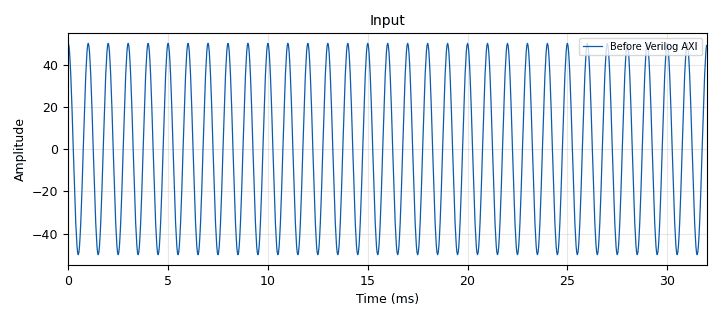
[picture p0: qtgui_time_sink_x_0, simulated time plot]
options:
  parameters:
    author: Bowen Hu
    description: This is a demo of verilog_axi_ff block
    generate_options: qt_gui
    id: verilog_axi_ff_demo
    output_language: python
    title: verilog_axi_ii demo
  states: {}

blocks:
- name: samp_rate
  id: variable
  parameters:
    value: '32000'
  states: {}
- name: analog_sig_source_x_0
  id: analog_sig_source_x
  parameters:
    amp: '50'
    freq: '1000'
    offset: '0'
    phase: '0'
    samp_rate: samp_rate
    type: byte
    waveform: analog.GR_COS_WAVE
  states: {}
- name: blocks_char_to_float_0
  id: blocks_char_to_float
  parameters:
    scale: '1'
  states: {}
- name: blocks_char_to_float_0_0
  id: blocks_char_to_float
  parameters:
    scale: '1'
  states: {}
- name: blocks_throttle_0
  id: blocks_throttle
  parameters:
    samples_per_second: samp_rate
    type: byte
  states: {}
- name: qtgui_time_sink_x_0
  id: qtgui_time_sink_x
  parameters:
    autoscale: 'True'
    grid: 'True'
    label1: Before Verilog AXI
    name: '"Input"'
    size: '1024'
    srate: samp_rate
    type: float
    ymax: '4'
    ymin: '-4'
  states: {}
- name: qtgui_time_sink_x_0_0
  id: qtgui_time_sink_x
  parameters:
    autoscale: 'True'
    grid: 'True'
    label1: Before Verilog AXI
    name: '"Output"'
    size: '1024'
    srate: samp_rate
    type: float
    ymax: '4'
    ymin: '-4'
  states: {}
- name: verilog_axi_xx_0
  id: verilog_axi_xx
  parameters:
    IO_ratio: '1.0'
    file: examples/double/double_axi.v
    module_flag: '0'
    overwrite: 'True'
    skip_output_items: '0'
    type: byte
    verilator_options: ''
  states: {}

connections:
- [analog_sig_source_x_0, '0', blocks_throttle_0, '0']
- [blocks_char_to_float_0, '0', qtgui_time_sink_x_0, '0']
- [blocks_char_to_float_0_0, '0', qtgui_time_sink_x_0_0, '0']
- [blocks_throttle_0, '0', blocks_char_to_float_0, '0']
- [blocks_throttle_0, '0', verilog_axi_xx_0, '0']
- [verilog_axi_xx_0, '0', blocks_char_to_float_0_0, '0']

metadata:
  file_format: 1
